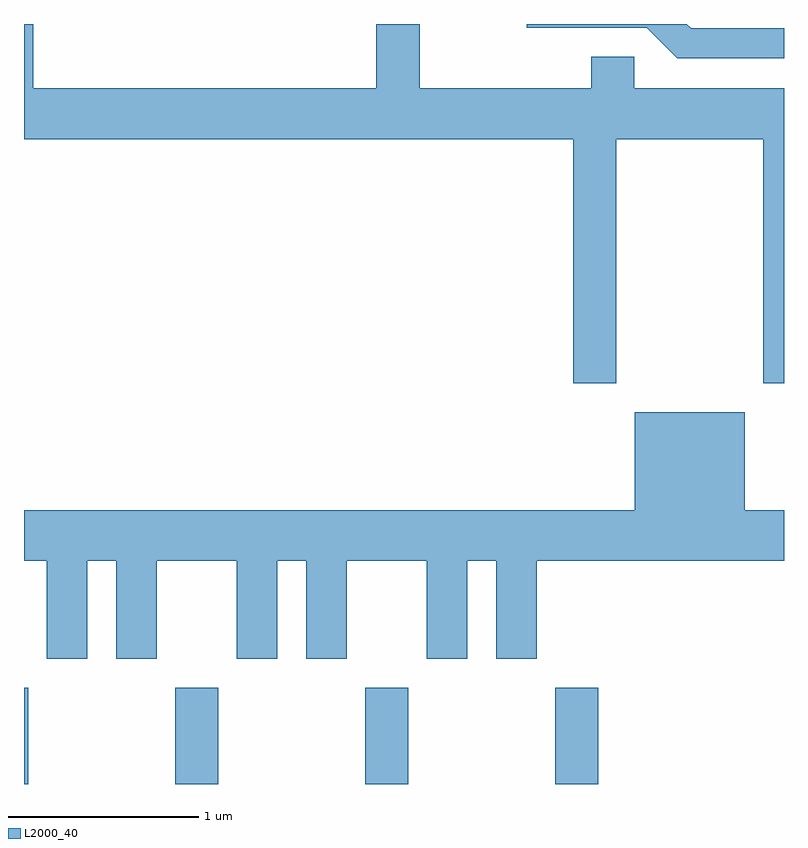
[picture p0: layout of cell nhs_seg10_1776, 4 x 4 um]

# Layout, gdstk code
import gdstk
lib = gdstk.Library(unit=1e-6, precision=1e-09)
def R(c, l, rs):  # rectangles x0, y0, x1, y1
    for r in rs: c.add(gdstk.rectangle(r[:2], r[2:], *l))
def A(c, l, x, y, w, h, nx, ny, dx, dy):  # array of equal rectangles
    R(c, l, [(x+i*dx, y+j*dy, x+i*dx+w, y+j*dy+h) for i in range(nx) for j in range(ny)])
def P(c, l, *ps):  # polygons
    for p in ps: c.add(gdstk.Polygon(p, *l))
L2000_40 = (2000, 40)

nhs_seg10_1776 = lib.new_cell('nhs_seg10_1776')
A(nhs_seg10_1776, L2000_40, 238.406, 2110.522, 0.228, 0.507, 3, 1, 1, 0)
R(nhs_seg10_1776, L2000_40, [(237.611,2110.522,237.634,2111.029)])
P(nhs_seg10_1776, L2000_40, [(240.729,2113.916),(241.501,2113.916),(241.501,2112.631),(241.611,2112.631),(241.611,2114.184),(240.824,2114.184),(240.824,2114.349),(240.596,2114.349),(240.596,2114.184),(239.694,2114.184),(239.694,2114.522),(239.466,2114.522),(239.466,2114.184),(237.659,2114.184),(237.659,2114.522),(237.611,2114.522),(237.611,2113.916),(240.501,2113.916),(240.501,2112.631),(240.729,2112.631)],
  [(241.611,2114.499),(241.122,2114.499),(241.099,2114.522),(240.256,2114.522),(240.256,2114.501),(240.889,2114.501),(241.049,2114.341),(241.611,2114.341)],
  [(237.944,2111.696),(238.096,2111.696),(238.096,2111.181),(238.309,2111.181),(238.309,2111.696),(238.731,2111.696),(238.731,2111.181),(238.944,2111.181),(238.944,2111.696),(239.096,2111.696),(239.096,2111.181),(239.309,2111.181),(239.309,2111.696),(239.731,2111.696),(239.731,2111.181),(239.944,2111.181),(239.944,2111.696),(240.096,2111.696),(240.096,2111.181),(240.309,2111.181),(240.309,2111.696),(241.611,2111.696),(241.611,2111.964),(241.404,2111.964),(241.404,2112.479),(240.826,2112.479),(240.826,2111.964),(237.611,2111.964),(237.611,2111.696),(237.731,2111.696),(237.731,2111.181),(237.944,2111.181)])

lib.write_gds('nhs_seg10_1776.gds')
